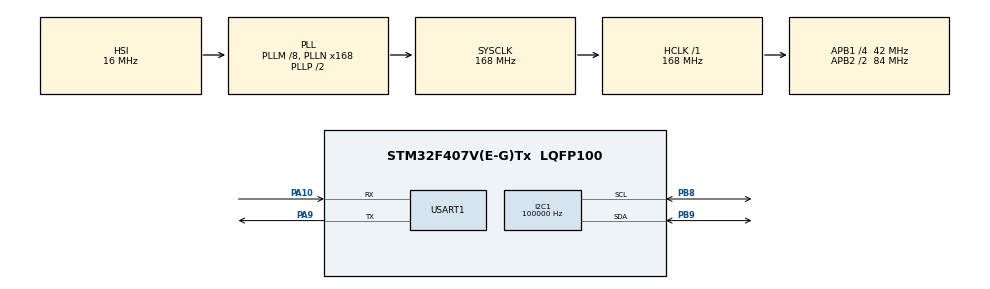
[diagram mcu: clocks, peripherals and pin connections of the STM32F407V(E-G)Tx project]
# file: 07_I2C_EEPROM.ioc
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I2C1.AddressingMode=I2C_ADDRESSINGMODE_7BIT
I2C1.ClockSpeed=100000
Mcu.Family=STM32F4
Mcu.Name=STM32F407V(E-G)Tx
Mcu.Package=LQFP100
NVIC.PriorityGroup=NVIC_PRIORITYGROUP_4
PA10.GPIO_PuPd=GPIO_PULLUP
PA10.GPIO_Speed=GPIO_SPEED_FREQ_HIGH
PA10.Mode=Asynchronous
PA10.Signal=USART1_RX
PA13.Mode=Serial_Wire
PA13.Signal=SYS_JTMS-SWDIO
PA14.Mode=Serial_Wire
PA14.Signal=SYS_JTCK-SWCLK
PA9.GPIO_PuPd=GPIO_PULLUP
PA9.GPIO_Speed=GPIO_SPEED_FREQ_HIGH
PA9.Mode=Asynchronous
PA9.Signal=USART1_TX
PB8.GPIO_Pu=GPIO_PULLUP
PB8.GPIO_Speed=GPIO_SPEED_FREQ_HIGH
PB8.Mode=I2C
PB8.Signal=I2C1_SCL
PB9.GPIO_Pu=GPIO_PULLUP
PB9.GPIO_Speed=GPIO_SPEED_FREQ_HIGH
PB9.Mode=I2C
PB9.Signal=I2C1_SDA
PH0-OSC_IN.Mode=HSE-External-Oscillator
PH0-OSC_IN.Signal=RCC_OSC_IN
PH1-OSC_OUT.Mode=HSE-External-Oscillator
PH1-OSC_OUT.Signal=RCC_OSC_OUT
ProjectManager.HeapSize=0x200
ProjectManager.StackSize=0x400
ProjectManager.TargetToolchain=STM32CubeIDE
RCC.48MHZClocksFreq_Value=84000000
RCC.AHBFreq_Value=168000000
RCC.APB1CLKDivider=RCC_HCLK_DIV4
RCC.APB1Freq_Value=42000000
RCC.APB1TimFreq_Value=84000000
RCC.APB2CLKDivider=RCC_HCLK_DIV2
RCC.APB2Freq_Value=84000000
RCC.APB2TimFreq_Value=168000000
RCC.CortexFreq_Value=168000000
RCC.HCLKFreq_Value=168000000
RCC.HSE_VALUE=25000000
RCC.HSI_VALUE=16000000
RCC.LSE_VALUE=32768
RCC.PLLM=8
RCC.PLLN=168
RCC.SYSCLKFreq_VALUE=168000000
RCC.SYSCLKSource=RCC_SYSCLKSOURCE_PLLCLK
RCC.VCOOutputFreq_Value=336000000
USART1.VirtualMode=VM_ASYNC
board=custom

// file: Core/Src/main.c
/* USER CODE BEGIN Header */
/**
  ******************************************************************************
  * @file           : main.c
  * @brief          : Main program body
  ******************************************************************************
  * @attention
  *
  * Copyright (c) 2025 STMicroelectronics.
  * All rights reserved.
  *
  * This software is licensed under terms that can be found in the LICENSE file
  * in the root directory of this software component.
  * If no LICENSE file comes with this software, it is provided AS-IS.
  *
  ******************************************************************************
  */
/* USER CODE END Header */
#include "main.h"
#include "i2c.h"
#include "usart.h"
#include "gpio.h"

/* USER CODE BEGIN Includes */
#include <stdio.h>   // for printf
#include <string.h>  // for memcmp
/* USER CODE END Includes */

/* USER CODE BEGIN PV */
#define EEPROM_I2C_ADDR 0xA0

uint8_t WriteBuffer[256], ReadBuffer[256];
/* USER CODE END PV */

void SystemClock_Config(void);

/* USER CODE BEGIN 0 */

int _write(int file, char *ptr, int len)
{
  HAL_UART_Transmit(&huart1, (uint8_t *)ptr, len, 50);

  return len;
}

void EEPROM_Write_Page(I2C_HandleTypeDef *hi2c, uint8_t devAddr, uint8_t memAddr, uint8_t *data, uint8_t length) {
    if (length > 8) length = 8; // Maximum 8 bytes limit

    HAL_I2C_Mem_Write(hi2c, devAddr, memAddr, I2C_MEMADD_SIZE_8BIT, data, length, HAL_MAX_DELAY);
    HAL_Delay(5); // Wait for EEPROM write completion
}

void EEPROM_Write_Buffer(uint8_t *data, uint16_t size) {
    for (uint16_t i = 0; i < size; i += 8) {
      EEPROM_Write_Page(&hi2c1, EEPROM_I2C_ADDR, i, &data[i], 8);
    }
}

/* USER CODE END 0 */

int main(void)
{

  /* MCU Configuration--------------------------------------------------------*/

  /* Reset of all peripherals, Initializes the Flash interface and the Systick. */
  HAL_Init();

  /* Configure the system clock */
  SystemClock_Config();

  /* Initialize all configured peripherals */
  MX_GPIO_Init();
  MX_I2C1_Init();
  MX_USART1_UART_Init();
  /* USER CODE BEGIN 2 */
  printf("\r\n***************I2C Example*************************\r\n");
  for(uint16_t i=0; i < sizeof(WriteBuffer); i++)
    WriteBuffer[i] = i;  /* WriteBuffer init */

  /* wrinte date to EEPROM */
  printf("Write data to EEPROM\r\n");
  EEPROM_Write_Buffer(WriteBuffer, sizeof(WriteBuffer));

  /* read date from EEPROM */
  printf("Read data from EEPROM\r\n");
  HAL_I2C_Mem_Read(&hi2c1, EEPROM_I2C_ADDR, 0, I2C_MEMADD_SIZE_8BIT, ReadBuffer, sizeof(ReadBuffer), HAL_MAX_DELAY);

  if(memcmp(WriteBuffer, ReadBuffer, sizeof(WriteBuffer)) == 0 ) /* check date */
    printf("\r\nEEPROM 24C02 Compare Write/Read Test OK\r\n");
  else
    printf("\r\nEEPROM 24C02 Compare Write/Read Test False\r\n");

  /* USER CODE END 2 */

  /* Infinite loop */
  while (1)
  {

  }
}

void SystemClock_Config(void)
{
  RCC_OscInitTypeDef RCC_OscInitStruct = {0};
  RCC_ClkInitTypeDef RCC_ClkInitStruct = {0};

  /** Configure the main internal regulator output voltage
  */
  __HAL_RCC_PWR_CLK_ENABLE();
  __HAL_PWR_VOLTAGESCALING_CONFIG(PWR_REGULATOR_VOLTAGE_SCALE1);

  /** Initializes the RCC Oscillators according to the specified parameters
  * in the RCC_OscInitTypeDef structure.
  */
  RCC_OscInitStruct.OscillatorType = RCC_OSCILLATORTYPE_HSI;
  RCC_OscInitStruct.HSIState = RCC_HSI_ON;
  RCC_OscInitStruct.HSICalibrationValue = RCC_HSICALIBRATION_DEFAULT;
  RCC_OscInitStruct.PLL.PLLState = RCC_PLL_ON;
  RCC_OscInitStruct.PLL.PLLSource = RCC_PLLSOURCE_HSI;
  RCC_OscInitStruct.PLL.PLLM = 8;
  RCC_OscInitStruct.PLL.PLLN = 168;
  RCC_OscInitStruct.PLL.PLLP = RCC_PLLP_DIV2;
  RCC_OscInitStruct.PLL.PLLQ = 4;
  if (HAL_RCC_OscConfig(&RCC_OscInitStruct) != HAL_OK)
  {
    Error_Handler();
  }

  /** Initializes the CPU, AHB and APB buses clocks
  */
  RCC_ClkInitStruct.ClockType = RCC_CLOCKTYPE_HCLK|RCC_CLOCKTYPE_SYSCLK
                              |RCC_CLOCKTYPE_PCLK1|RCC_CLOCKTYPE_PCLK2;
  RCC_ClkInitStruct.SYSCLKSource = RCC_SYSCLKSOURCE_PLLCLK;
  RCC_ClkInitStruct.AHBCLKDivider = RCC_SYSCLK_DIV1;
  RCC_ClkInitStruct.APB1CLKDivider = RCC_HCLK_DIV4;
  RCC_ClkInitStruct.APB2CLKDivider = RCC_HCLK_DIV2;

  if (HAL_RCC_ClockConfig(&RCC_ClkInitStruct, FLASH_LATENCY_5) != HAL_OK)
  {
    Error_Handler();
  }
}

void Error_Handler(void)
{
  __disable_irq();
  while (1)
  {
  }
}
